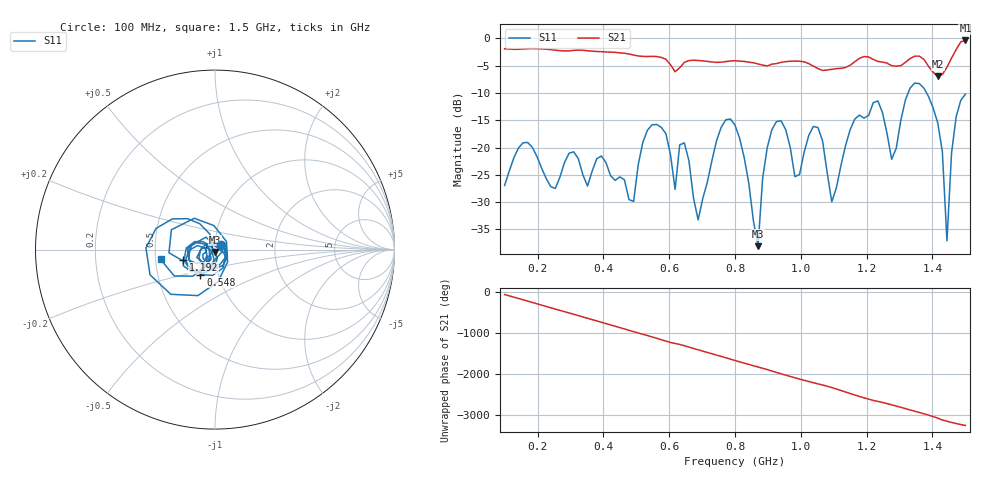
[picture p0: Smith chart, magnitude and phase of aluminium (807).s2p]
! NanoVNA-App
! Date: 2025-09-25 15:01:34
! Start: 100MHz Stop: 1,5GHz Points: 101
! S-Parameter data: F S11 S21 S12 S22
# Hz S RI R 50
!  Frequency  S11_Real  S11_Imag  S21_Real  S21_Imag  S12_Real  S12_Imag  S22_Real  S22_Imag
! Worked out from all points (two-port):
!   101 points, 100 MHz to 1.5 GHz, reference 50 ohm
!   highest |S21| = -0.40 dB at 1.5 GHz (marker M1); lowest = -7.0 dB at 1.416 GHz (marker M2)
!   |S21| within 3 dB of the highest: start of sweep to 566.8 MHz; 1.46 GHz to end of sweep (the widest 2 of 4)
!   lowest |S11| = -38.1 dB at 870 MHz (marker M3), VSWR 1.03, Z = 50.1 - j1.25 ohm
!   |S11| at or under -10 dB: start of sweep to 1.326 GHz; 1.382 GHz to end of sweep
!   S12 and S22 are empty: the file has one direction only
!   S11 on the Smith chart (normalised r, x): 100 MHz: 1.07, +0.06; 548 MHz: 0.82, -0.24; 1.192 GHz: 0.70, -0.08; 1.5 GHz: 0.53, -0.06
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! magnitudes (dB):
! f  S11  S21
! 100 MHz  -27.0  -1.9
! 156 MHz  -19.1  -2.0
! 338 MHz  -25.0  -2.2
! 492 MHz  -29.9  -3.1
! 548 MHz  -15.8  -3.3
! 576 MHz  -16.3  -3.5
! 618 MHz  -27.7  -6.1
! 646 MHz  -19.2  -4.4
! 688 MHz  -33.3  -4.1
! 800 MHz  -15.9  -4.1
! 870 MHz  -38.1  -4.7
! 912 MHz  -16.7  -4.7
! 982 MHz  -25.3  -4.2
! 1.038 GHz  -16.1  -5.1
! 1.094 GHz  -29.9  -5.7
! 1.192 GHz  -14.6  -3.4
! 1.276 GHz  -22.2  -5.0
! 1.346 GHz  -8.2  -3.3
! 1.416 GHz  -15.5  -7.0
! 1.444 GHz  -37.1  -5.3
! 1.458 GHz  -21.0  -3.6
! 1.5 GHz  -10.2  -0.4
